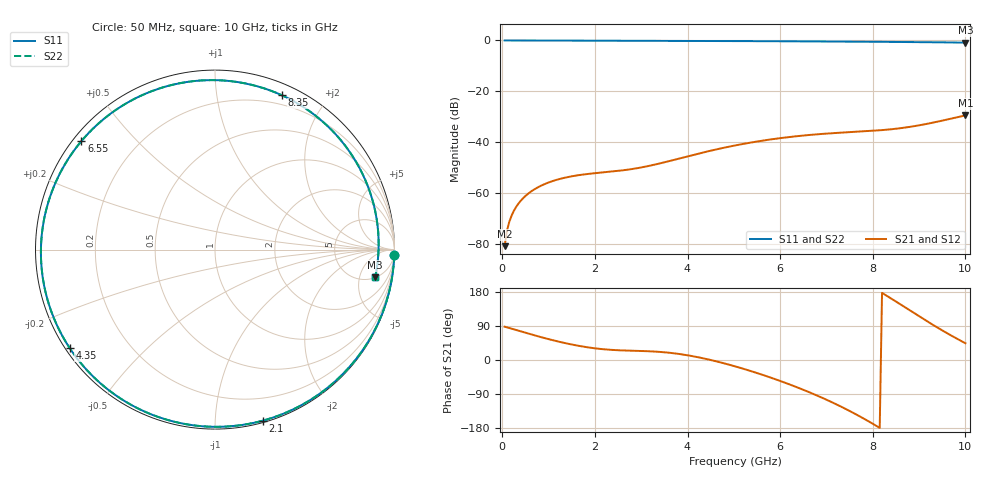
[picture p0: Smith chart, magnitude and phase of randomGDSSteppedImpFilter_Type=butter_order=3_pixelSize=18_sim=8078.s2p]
! freq	dB(S11)	phase(S11)	dB(S12)	phase(S12)
!  dB(S21)	phase(S21)	dB(S22)	phase(S22)
!S-par simulation data
#  GHz  S  DB  R 50
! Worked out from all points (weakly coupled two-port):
!   200 points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, 50 MHz to 10 GHz, reference 50 ohm
!   highest |S21| = -29.47 dB at 10 GHz (marker M1); lowest = -80.9 dB at 50 MHz (marker M2)
!   lowest |S11| = -0.9 dB at 10 GHz (marker M3), VSWR 20.19, Z = 256 - j437 ohm
!   |S11| at or under -10 dB: nowhere
!   |S22| runs from -0.9 to 0.0 dB; largest |S21 - S12| = 0
!   S11 on the Smith chart (normalised r, x): 50 MHz: 1, -61; 2.1 GHz: 0.01, -1.32; 4.35 GHz: 0.01, -0.31; 6.55 GHz: 0.02, +0.35; 8.35 GHz: 0.11, +1.52; 10 GHz: 5, -9
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0.05  -0.00 -1.9  -80.87 88.0  -80.87 88.0  -0.00 -1.9
0.1  -0.01 -3.7  -74.87 86.2  -74.87 86.2  -0.01 -3.7
0.2  -0.01 -7.3  -68.88 82.6  -68.88 82.6  -0.01 -7.3
0.35  -0.02 -12.8  -64.11 77.2  -64.11 77.2  -0.02 -12.8
0.5  -0.02 -18.3  -61.13 71.8  -61.13 71.8  -0.02 -18.3
1  -0.04 -36.3  -55.83 55.0  -55.83 55.0  -0.04 -36.3
1.75  -0.08 -62.4  -52.70 35.3  -52.70 35.3  -0.08 -62.4
2.1  -0.09 -74.3  -52.00 29.4  -52.00 29.4  -0.09 -74.3
2.75  -0.12 -95.6  -50.69 24.6  -50.69 24.6  -0.12 -95.6
3.4  -0.14 -116.3  -48.35 21.4  -48.35 21.4  -0.14 -116.3
4.35  -0.19 -145.9  -43.98 4.2  -43.98 4.2  -0.19 -145.9
5.05  -0.24 -168.0  -41.19 -17.6  -41.19 -17.6  -0.24 -168.0
5.8  -0.30 167.4  -38.90 -46.6  -38.90 -46.6  -0.30 167.4
6.55  -0.36 140.9  -37.29 -81.1  -37.29 -81.1  -0.36 141.0
6.7  -0.38 135.4  -37.05 -88.7  -37.05 -88.7  -0.38 135.4
7.6  -0.47 99.5  -35.95 -140.9  -35.95 -140.9  -0.47 99.5
8  -0.52 82.2  -35.52 -168.2  -35.52 -168.2  -0.52 82.2
8.35  -0.56 66.5  -35.00 165.8  -35.00 165.8  -0.56 66.5
8.75  -0.62 48.0  -34.12 134.8  -34.12 134.8  -0.62 48.1
9.2  -0.69 27.0  -32.68 100.1  -32.68 100.1  -0.69 27.1
9.6  -0.77 8.4  -31.12 71.1  -31.12 71.1  -0.76 8.6
10  -0.86 -9.8  -29.47 44.2  -29.47 44.2  -0.86 -9.6
